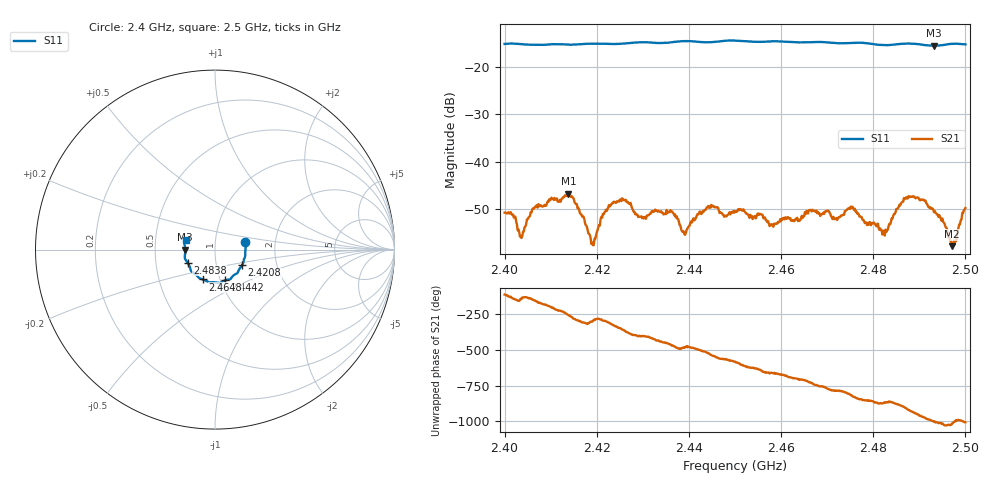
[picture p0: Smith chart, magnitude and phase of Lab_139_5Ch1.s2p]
# Hz S RI R 50
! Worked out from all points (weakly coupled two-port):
!   601 points, 2.4 GHz to 2.5 GHz, reference 50 ohm
!   highest |S21| = -46.71 dB at 2.4138 GHz (marker M1); lowest = -57.7 dB at 2.497 GHz (marker M2)
!   lowest |S11| = -15.6 dB at 2.4932 GHz (marker M3), VSWR 1.40, Z = 35.8 - j0.0794 ohm
!   |S11| at or under -10 dB: start of sweep to end of sweep
!   S12 and S22 are empty: the file has one direction only
!   S11 on the Smith chart (normalised r, x): 2.4 GHz: 1.40, +0.12; 2.4208 GHz: 1.33, -0.24; 2.4442 GHz: 1.05, -0.37; 2.4648 GHz: 0.83, -0.28; 2.4838 GHz: 0.73, -0.11; 2.5 GHz: 0.72, +0.08
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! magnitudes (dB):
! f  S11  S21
! 2.4 GHz  -15.2  -50.7
! 2.4037 GHz  -15.3  -56.0
! 2.4065 GHz  -15.4  -49.6
! 2.4138 GHz  -15.4  -46.7
! 2.4167 GHz  -15.3  -51.1
! 2.4192 GHz  -15.2  -57.5
! 2.4208 GHz  -15.2  -52.0
! 2.4255 GHz  -15.2  -47.7
! 2.4295 GHz  -14.9  -51.5
! 2.4333 GHz  -15.0  -50.2
! 2.439 GHz  -14.6  -55.1
! 2.4442 GHz  -14.9  -49.3
! 2.45 GHz  -14.5  -50.4
! 2.4578 GHz  -14.7  -53.1
! 2.4648 GHz  -14.9  -51.4
! 2.4667 GHz  -14.8  -50.4
! 2.4833 GHz  -15.5  -53.5
! 2.4838 GHz  -15.4  -52.6
! 2.4882 GHz  -15.2  -47.3
! 2.4932 GHz  -15.6  -50.6
! 2.497 GHz  -15.2  -57.7
! 2.5 GHz  -15.3  -49.7
